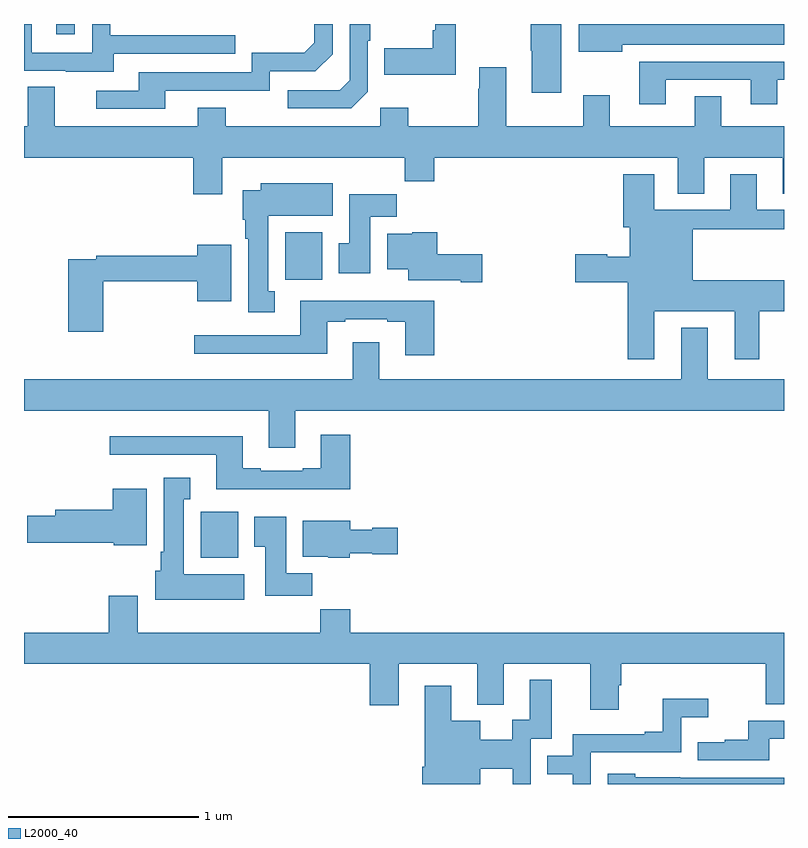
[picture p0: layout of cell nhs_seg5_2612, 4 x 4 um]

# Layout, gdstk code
import gdstk
lib = gdstk.Library(unit=1e-6, precision=1e-09)
def R(c, l, rs):  # rectangles x0, y0, x1, y1
    for r in rs: c.add(gdstk.rectangle(r[:2], r[2:], *l))
def P(c, l, *ps):  # polygons
    for p in ps: c.add(gdstk.Polygon(p, *l))
L2000_40 = (2000, 40)

nhs_seg5_2612 = lib.new_cell('nhs_seg5_2612')
R(nhs_seg5_2612, L2000_40, [(263.93,851.99,264.127,852.232), (264.375,853.452,264.571,853.702), (263.171,854.745,263.268,854.799)])
P(nhs_seg5_2612, L2000_40, [(265.828,854.799),(265.666,854.799),(265.666,854.659),(265.673,854.659),(265.673,854.436),(265.828,854.436)],
  [(266.149,854.69),(267,854.69),(267,854.799),(265.92,854.799),(265.92,854.654),(266.149,854.654)],
  [(264.81,854.442),(264.81,854.711),(264.823,854.711),(264.823,854.799),(264.714,854.799),(264.714,854.502),(264.663,854.451),(264.387,854.451),(264.387,854.355),(264.723,854.355)],
  [(265.273,854.799),(265.164,854.799),(265.164,854.767),(265.152,854.767),(265.152,854.671),(264.895,854.671),(264.895,854.531),(265.273,854.531)],
  [(263.743,854.448),(264.294,854.448),(264.294,854.55),(264.534,854.55),(264.624,854.64),(264.624,854.799),(264.528,854.799),(264.528,854.7),(264.475,854.647),(264.198,854.647),(264.198,854.544),(263.603,854.544),(263.603,854.448),(263.379,854.448),(263.379,854.352),(263.743,854.352)],
  [(263.473,854.643),(264.113,854.643),(264.113,854.739),(263.454,854.739),(263.454,854.799),(263.358,854.799),(263.358,854.649),(263.04,854.649),(263.04,854.799),(263,854.799),(263,854.553),(263.219,854.553),(263.219,854.549),(263.473,854.549)],
  [(266.377,854.505),(266.825,854.505),(266.825,854.376),(266.965,854.376),(266.965,854.505),(267,854.505),(267,854.601),(266.237,854.601),(266.237,854.376),(266.377,854.376)],
  [(266.531,854.26),(266.083,854.26),(266.083,854.425),(265.943,854.425),(265.943,854.26),(265.537,854.26),(265.537,854.572),(265.397,854.572),(265.397,854.459),(265.39,854.459),(265.39,854.26),(265.023,854.26),(265.023,854.359),(264.876,854.359),(264.876,854.26),(264.063,854.26),(264.063,854.359),(263.915,854.359),(263.915,854.26),(263.161,854.26),(263.161,854.468),(263.021,854.468),(263.021,854.26),(263,854.26),(263,854.096),(263.891,854.096),(263.891,853.902),(264.043,853.902),(264.043,854.096),(265.003,854.096),(265.003,853.972),(265.16,853.972),(265.16,854.096),(266.441,854.096),(266.441,853.906),(266.581,853.906),(266.581,854.096),(266.993,854.096),(266.993,853.906),(267,853.906),(267,854.26),(266.671,854.26),(266.671,854.42),(266.531,854.42)],
  [(266.317,853.286),(266.741,853.286),(266.741,853.035),(266.869,853.035),(266.869,853.286),(267,853.286),(267,853.45),(266.521,853.45),(266.521,853.72),(267,853.72),(267,853.821),(266.857,853.821),(266.857,854.008),(266.717,854.008),(266.717,853.821),(266.317,853.821),(266.317,854.008),(266.153,854.008),(266.153,853.728),(266.189,853.728),(266.189,853.573),(266.069,853.573),(266.069,853.586),(265.902,853.586),(265.902,853.439),(266.177,853.439),(266.177,853.035),(266.317,853.035)],
  [(264.319,853.393),(264.286,853.393),(264.286,853.79),(264.625,853.79),(264.625,853.96),(264.245,853.96),(264.245,853.924),(264.152,853.924),(264.152,853.77),(264.164,853.77),(264.164,853.67),(264.179,853.67),(264.179,853.281),(264.319,853.281)],
  [(264.823,853.784),(264.962,853.784),(264.962,853.902),(264.713,853.902),(264.713,853.644),(264.656,853.644),(264.656,853.488),(264.823,853.488)],
  [(265.411,853.586),(265.175,853.586),(265.175,853.702),(265.044,853.702),(265.044,853.696),(264.911,853.696),(264.911,853.508),(265.022,853.508),(265.022,853.451),(265.298,853.451),(265.298,853.439),(265.411,853.439)],
  [(263.417,853.444),(263.912,853.444),(263.912,853.34),(264.091,853.34),(264.091,853.636),(263.912,853.636),(263.912,853.58),(263.38,853.58),(263.38,853.56),(263.234,853.56),(263.234,853.179),(263.417,853.179)],
  [(265.16,853.342),(264.455,853.342),(264.455,853.161),(263.895,853.161),(263.895,853.064),(264.595,853.064),(264.595,853.233),(264.691,853.233),(264.691,853.245),(264.911,853.245),(264.911,853.233),(265.007,853.233),(265.007,853.056),(265.16,853.056)],
  [(264.427,852.764),(267,852.764),(267,852.928),(266.599,852.928),(266.599,853.201),(266.459,853.201),(266.459,852.928),(264.871,852.928),(264.871,853.123),(264.731,853.123),(264.731,852.928),(263,852.928),(263,852.764),(264.287,852.764),(264.287,852.57),(264.427,852.57)],
  [(264.716,852.637),(264.563,852.637),(264.563,852.46),(264.467,852.46),(264.467,852.447),(264.247,852.447),(264.247,852.46),(264.151,852.46),(264.151,852.628),(263.451,852.628),(263.451,852.531),(264.011,852.531),(264.011,852.35),(264.716,852.35)],
  [(264.16,851.902),(263.842,851.902),(263.842,852.299),(263.875,852.299),(263.875,852.412),(263.735,852.412),(263.735,852.022),(263.72,852.022),(263.72,851.922),(263.69,851.922),(263.69,851.768),(264.16,851.768)],
  [(263.647,852.352),(263.468,852.352),(263.468,852.242),(263.165,852.242),(263.165,852.212),(263.016,852.212),(263.016,852.07),(263.472,852.07),(263.472,852.056),(263.647,852.056)],
  [(264.518,851.908),(264.379,851.908),(264.379,852.205),(264.212,852.205),(264.212,852.049),(264.269,852.049),(264.269,851.79),(264.518,851.79)],
  [(264.714,852.014),(264.834,852.014),(264.834,852.007),(264.967,852.007),(264.967,852.149),(264.834,852.149),(264.834,852.136),(264.718,852.136),(264.718,852.184),(264.467,852.184),(264.467,851.996),(264.6,851.996),(264.6,851.99),(264.714,851.99)],
  [(266.131,851.319),(266.144,851.319),(266.144,851.432),(266.904,851.432),(266.904,851.218),(267,851.218),(267,851.596),(264.716,851.596),(264.716,851.72),(264.559,851.72),(264.559,851.596),(263.599,851.596),(263.599,851.791),(263.447,851.791),(263.447,851.596),(263,851.596),(263,851.432),(264.821,851.432),(264.821,851.214),(264.973,851.214),(264.973,851.432),(265.385,851.432),(265.385,851.216),(265.525,851.216),(265.525,851.432),(265.979,851.432),(265.979,851.19),(266.131,851.19)],
  [(265.402,850.88),(265.572,850.88),(265.572,850.799),(265.668,850.799),(265.668,851.037),(265.777,851.037),(265.777,851.347),(265.661,851.347),(265.661,851.138),(265.571,851.138),(265.571,851.032),(265.402,851.032),(265.402,851.131),(265.249,851.131),(265.249,851.317),(265.109,851.317),(265.109,850.891),(265.097,850.891),(265.097,850.799),(265.402,850.799)],
  [(265.983,850.965),(266.46,850.965),(266.46,851.15),(266.602,851.15),(266.602,851.249),(266.362,851.249),(266.362,851.074),(266.267,851.074),(266.267,851.061),(265.887,851.061),(265.887,850.947),(265.753,850.947),(265.753,850.851),(265.887,850.851),(265.887,850.799),(265.983,850.799)],
  [(266.923,851.036),(267,851.036),(267,851.133),(266.813,851.133),(266.813,851.032),(266.689,851.032),(266.689,851.02),(266.545,851.02),(266.545,850.923),(266.923,850.923)],
  [(267,850.833),(266.453,850.833),(266.453,850.834),(266.217,850.834),(266.217,850.852),(266.073,850.852),(266.073,850.799),(267,850.799)])

lib.write_gds('nhs_seg5_2612.gds')
